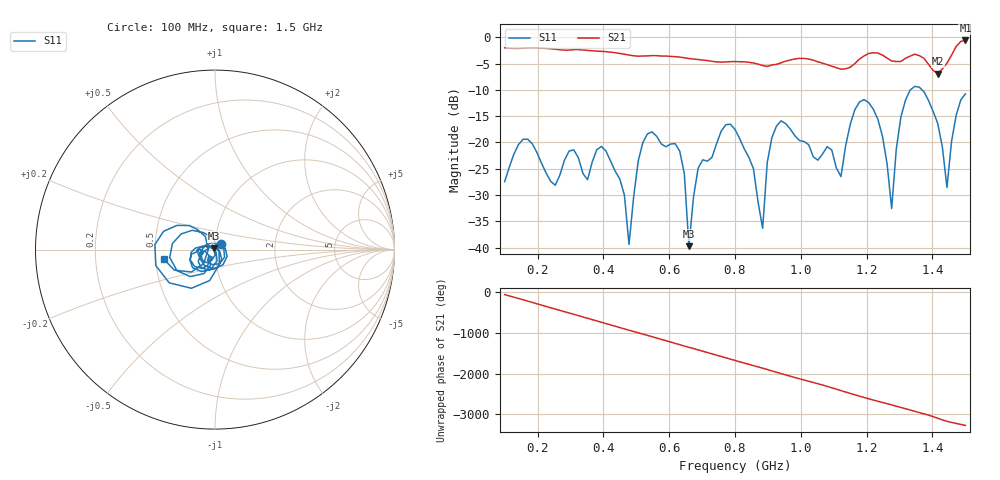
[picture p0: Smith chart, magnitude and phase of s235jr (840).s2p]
! NanoVNA-App
! Date: 2025-09-25 15:10:42
! Start: 100MHz Stop: 1,5GHz Points: 101
! S-Parameter data: F S11 S21 S12 S22
# Hz S RI R 50
!  Frequency  S11_Real  S11_Imag  S21_Real  S21_Imag  S12_Real  S12_Imag  S22_Real  S22_Imag
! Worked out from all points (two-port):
!   101 points, 100 MHz to 1.5 GHz, reference 50 ohm
!   highest |S21| = -0.58 dB at 1.5 GHz (marker M1); lowest = -6.9 dB at 1.416 GHz (marker M2)
!   |S21| within 3 dB of the highest: start of sweep to 596.8 MHz; 1.191 GHz to 1.253 GHz (62.29 MHz wide, 5.1 % of centre) (the widest 2 of 4)
!   lowest |S11| = -39.7 dB at 660 MHz (marker M3), VSWR 1.02, Z = 49.2 + j0.604 ohm
!   |S11| at or under -10 dB: start of sweep to 1.333 GHz; 1.368 GHz to end of sweep
!   S12 and S22 are empty: the file has one direction only
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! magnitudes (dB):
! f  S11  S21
! 100 MHz  -27.5  -2.0
! 156 MHz  -19.4  -2.0
! 338 MHz  -25.9  -2.4
! 408 MHz  -21.6  -2.7
! 478 MHz  -39.4  -3.4
! 520 MHz  -20.0  -3.5
! 576 MHz  -20.3  -3.5
! 632 MHz  -21.6  -3.7
! 660 MHz  -39.7  -4.0
! 688 MHz  -24.9  -4.2
! 800 MHz  -17.5  -4.6
! 884 MHz  -36.3  -5.3
! 926 MHz  -16.9  -5.1
! 1.038 GHz  -22.8  -4.3
! 1.122 GHz  -26.5  -6.0
! 1.206 GHz  -12.4  -3.1
! 1.276 GHz  -32.6  -4.5
! 1.304 GHz  -15.1  -4.6
! 1.332 GHz  -10.0  -3.6
! 1.416 GHz  -16.4  -6.9
! 1.444 GHz  -28.6  -4.9
! 1.5 GHz  -10.7  -0.6
